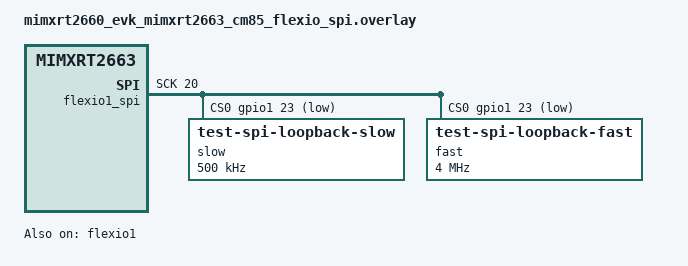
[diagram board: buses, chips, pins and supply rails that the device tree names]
/*
 * SPDX-FileCopyrightText: Copyright 2026 NXP
 *
 * SPDX-License-Identifier: Apache-2.0
 */

/*
 * FlexIO1 drives the same four pads as LPSPI0, so that one is disabled here.
 * Move J53 to 1-2 to route them away from the LCD, then short J56 pin 5 (SDO)
 * to J56 pin 6 (SDI) for the loopback.
 */

#include <zephyr/dt-bindings/gpio/gpio.h>

&lpspi0 {
	status = "disabled";
};

&pinctrl {
	pinmux_flexio1_spi: pinmux_flexio1_spi {
		group0 {
			pinmux = <&main__iomuxc_pio3_20_hsp_flexio1_fxio_d20>,	/* sck */
				 <&main__iomuxc_pio3_21_hsp_flexio1_fxio_d21>,	/* sdo */
				 <&main__iomuxc_pio3_22_hsp_flexio1_fxio_d22>,	/* sdi */
				 <&main__iomuxc_pio3_23_hsp_gpio1_gpio23>;	/* cs  */
			slew-rate = "fast";
			input-enable;
		};
	};
};

&gpio1 {
	status = "okay";
};

&flexio1 {
	status = "okay";

	flexio1_spi: flexio1_spi {
		compatible = "nxp,flexio-spi";
		cs-gpios = <&gpio1 23 GPIO_ACTIVE_LOW>;
		#address-cells = <1>;
		#size-cells = <0>;
		sck-pin = <20>;
		sdo-pin = <21>;
		sdi-pin = <22>;
		pinctrl-0 = <&pinmux_flexio1_spi>;
		pinctrl-names = "default";
		status = "okay";

		slow@0 {
			compatible = "test-spi-loopback-slow";
			reg = <0>;
			spi-max-frequency = <500000>;
		};

		fast@0 {
			compatible = "test-spi-loopback-fast";
			reg = <0>;
			spi-max-frequency = <4000000>;
		};
	};
};
